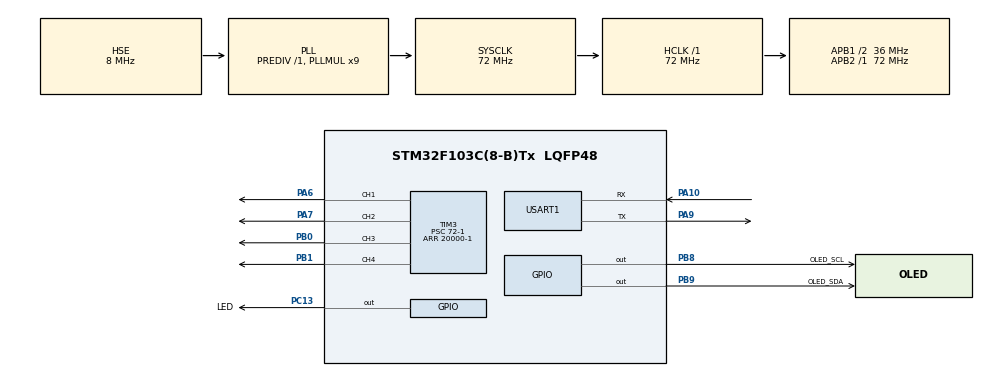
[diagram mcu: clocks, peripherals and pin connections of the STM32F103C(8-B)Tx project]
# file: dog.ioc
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Mcu.Family=STM32F1
Mcu.Name=STM32F103C(8-B)Tx
Mcu.Package=LQFP48
NVIC.PriorityGroup=NVIC_PRIORITYGROUP_4
NVIC.USART1_IRQn=true\:0\:0\:false\:false\:true\:true\:true\:true
PA10.Mode=Asynchronous
PA10.Signal=USART1_RX
PA13.Mode=Serial_Wire
PA13.Signal=SYS_JTMS-SWDIO
PA14.Mode=Serial_Wire
PA14.Signal=SYS_JTCK-SWCLK
PA6.Signal=S_TIM3_CH1
PA7.Signal=S_TIM3_CH2
PA9.Mode=Asynchronous
PA9.Signal=USART1_TX
PB0.Signal=S_TIM3_CH3
PB1.Signal=S_TIM3_CH4
PB8.GPIO_Label=OLED_SCL
PB8.GPIO_ModeDefaultOutputPP=GPIO_MODE_OUTPUT_OD
PB8.GPIO_PuPd=GPIO_NOPULL
PB8.GPIO_Speed=GPIO_SPEED_FREQ_HIGH
PB8.Signal=GPIO_Output
PB9.GPIO_Label=OLED_SDA
PB9.GPIO_ModeDefaultOutputPP=GPIO_MODE_OUTPUT_OD
PB9.GPIO_PuPd=GPIO_NOPULL
PB9.GPIO_Speed=GPIO_SPEED_FREQ_HIGH
PB9.Signal=GPIO_Output
PC13-TAMPER-RTC.GPIO_Label=LED
PC13-TAMPER-RTC.GPIO_Speed=GPIO_SPEED_FREQ_LOW
PC13-TAMPER-RTC.Signal=GPIO_Output
PD0-OSC_IN.Mode=HSE-External-Oscillator
PD0-OSC_IN.Signal=RCC_OSC_IN
PD1-OSC_OUT.Mode=HSE-External-Oscillator
PD1-OSC_OUT.Signal=RCC_OSC_OUT
ProjectManager.HeapSize=0x200
ProjectManager.StackSize=0x400
ProjectManager.TargetToolchain=CMake
RCC.AHBFreq_Value=72000000
RCC.APB1CLKDivider=RCC_HCLK_DIV2
RCC.APB1Freq_Value=36000000
RCC.APB1TimFreq_Value=72000000
RCC.APB2Freq_Value=72000000
RCC.APB2TimFreq_Value=72000000
RCC.HCLKFreq_Value=72000000
RCC.PLLMUL=RCC_PLL_MUL9
RCC.PLLSourceVirtual=RCC_PLLSOURCE_HSE
RCC.SYSCLKFreq_VALUE=72000000
RCC.SYSCLKSource=RCC_SYSCLKSOURCE_PLLCLK
RCC.USBFreq_Value=72000000
SH.S_TIM3_CH1.0=TIM3_CH1,PWM Generation1 CH1
SH.S_TIM3_CH2.0=TIM3_CH2,PWM Generation2 CH2
SH.S_TIM3_CH3.0=TIM3_CH3,PWM Generation3 CH3
SH.S_TIM3_CH4.0=TIM3_CH4,PWM Generation4 CH4
TIM3.Channel-PWM\ Generation1\ CH1=TIM_CHANNEL_1
TIM3.Channel-PWM\ Generation2\ CH2=TIM_CHANNEL_2
TIM3.Channel-PWM\ Generation3\ CH3=TIM_CHANNEL_3
TIM3.Channel-PWM\ Generation4\ CH4=TIM_CHANNEL_4
TIM3.Period=20000-1
TIM3.Prescaler=72-1
TIM3.Pulse-PWM\ Generation2\ CH2=0
TIM3.Pulse-PWM\ Generation4\ CH4=0
USART1.VirtualMode=VM_ASYNC
VP_TIM3_VS_ClockSourceINT.Mode=Internal
board=custom

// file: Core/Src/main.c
/* USER CODE BEGIN Header */
/**
 ******************************************************************************
 * @file           : main.c
 * @brief          : Main program body
 ******************************************************************************
 * @attention
 *
 * Copyright (c) 2024 STMicroelectronics.
 * All rights reserved.
 *
 * This software is licensed under terms that can be found in the LICENSE file
 * in the root directory of this software component.
 * If no LICENSE file comes with this software, it is provided AS-IS.
 *
 ******************************************************************************
 */
/* USER CODE END Header */
#include "main.h"
#include "tim.h"
#include "usart.h"
#include "gpio.h"

/* USER CODE BEGIN Includes */
#include "oled.h"
#include "Serial.h"
/* USER CODE END Includes */

void SystemClock_Config(void);

/* USER CODE BEGIN 0 */
/**
 * @brief Sets the servo angle for a specific channel.
 * @param htim: Pointer to the TIM handle
 * @param channel: TIM channel (e.g., TIM_CHANNEL_1)
 * @param angle: Desired angle (0 to 180 degrees)
 */
void Servo_SetAngle(TIM_HandleTypeDef *htim, uint32_t channel, float angle)
{
  // Ensure angle is within 0 to 180 degrees
  if (angle < 0.0f)
    angle = 0.0f;
  if (angle > 180.0f)
    angle = 180.0f;

  // Calculate CCR value based on the desired angle
  uint32_t ccr = (angle * 2000.0f / 180.0f) + 500;

  // Set the CCR value
  __HAL_TIM_SET_COMPARE(htim, channel, ccr);
}
/* USER CODE END 0 */

int main(void)
{

  /* MCU Configuration--------------------------------------------------------*/

  /* Reset of all peripherals, Initializes the Flash interface and the Systick. */
  HAL_Init();

  /* Configure the system clock */
  SystemClock_Config();

  /* Initialize all configured peripherals */
  MX_GPIO_Init();
  MX_USART1_UART_Init();
  MX_TIM3_Init();
  /* USER CODE BEGIN 2 */

  // OLED init config, not working
  // TODO: fix the OLED display
  OLED_Init();
  OLED_Clear();
  // OLED_ShowNum(0, 0, 12345678, 8, OLED_8X16);
  // OLED_ShowString(0, 6, "ASCII:", 16);

  // Serial(uart) init
  Serial_Init();
  Serial_SendStringOne("Hello Dog!\r\n");

  /* USER CODE END 2 */

  /* Infinite loop */
  while (1)
  {

    /* USER CODE BEGIN 3 */
    // heart beat for check if the program is running
    HAL_GPIO_TogglePin(LED_GPIO_Port, LED_Pin);
    HAL_Delay(3000);

    Servo_SetAngle(&htim3, TIM_CHANNEL_4, 0);
    // check the PWM signal is setting

    HAL_Delay(3000);

    Servo_SetAngle(&htim3, TIM_CHANNEL_4, 90);

    //
  }
  /* USER CODE END 3 */
}

void SystemClock_Config(void)
{
  RCC_OscInitTypeDef RCC_OscInitStruct = {0};
  RCC_ClkInitTypeDef RCC_ClkInitStruct = {0};

  /** Initializes the RCC Oscillators according to the specified parameters
  * in the RCC_OscInitTypeDef structure.
  */
  RCC_OscInitStruct.OscillatorType = RCC_OSCILLATORTYPE_HSE;
  RCC_OscInitStruct.HSEState = RCC_HSE_ON;
  RCC_OscInitStruct.HSEPredivValue = RCC_HSE_PREDIV_DIV1;
  RCC_OscInitStruct.HSIState = RCC_HSI_ON;
  RCC_OscInitStruct.PLL.PLLState = RCC_PLL_ON;
  RCC_OscInitStruct.PLL.PLLSource = RCC_PLLSOURCE_HSE;
  RCC_OscInitStruct.PLL.PLLMUL = RCC_PLL_MUL9;
  if (HAL_RCC_OscConfig(&RCC_OscInitStruct) != HAL_OK)
  {
    Error_Handler();
  }

  /** Initializes the CPU, AHB and APB buses clocks
  */
  RCC_ClkInitStruct.ClockType = RCC_CLOCKTYPE_HCLK|RCC_CLOCKTYPE_SYSCLK
                              |RCC_CLOCKTYPE_PCLK1|RCC_CLOCKTYPE_PCLK2;
  RCC_ClkInitStruct.SYSCLKSource = RCC_SYSCLKSOURCE_PLLCLK;
  RCC_ClkInitStruct.AHBCLKDivider = RCC_SYSCLK_DIV1;
  RCC_ClkInitStruct.APB1CLKDivider = RCC_HCLK_DIV2;
  RCC_ClkInitStruct.APB2CLKDivider = RCC_HCLK_DIV1;

  if (HAL_RCC_ClockConfig(&RCC_ClkInitStruct, FLASH_LATENCY_2) != HAL_OK)
  {
    Error_Handler();
  }
}

void Error_Handler(void)
{
  __disable_irq();
  while (1)
  {
  }
}
